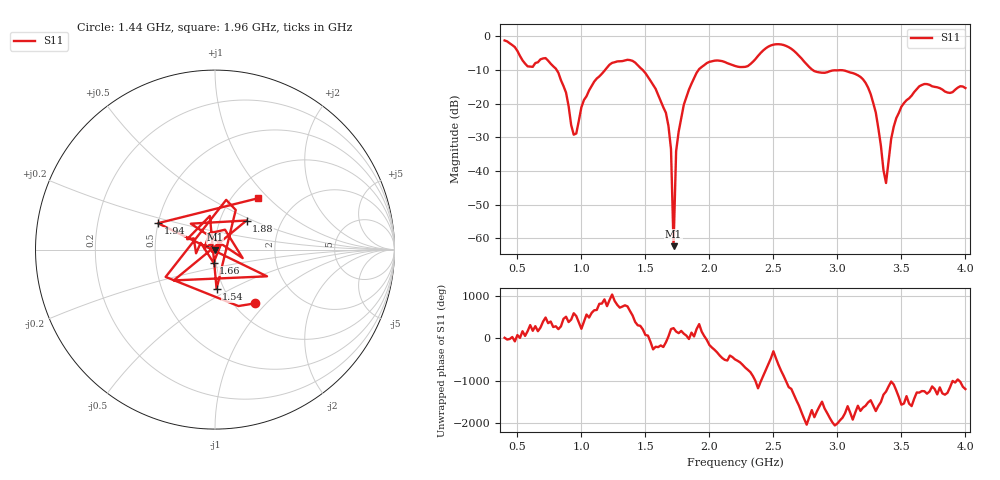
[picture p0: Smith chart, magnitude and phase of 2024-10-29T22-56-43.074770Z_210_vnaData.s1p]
!Created with skrf (http://scikit-rf.org).
# Hz S RI R 50.0
!freq ReS11 ImS11
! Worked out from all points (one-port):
!   181 points, 400 MHz to 4 GHz, reference 50 ohm
!   lowest |S11| = -62.4 dB at 1.72 GHz (marker M1), VSWR 1.00, Z = 50 - j0.0652 ohm
!   |S11| at or under -10 dB: 806.4 MHz to 1.185 GHz (379 MHz wide, 38.1 % of centre); 1.478 GHz to 1.915 GHz (436.8 MHz wide, 25.7 % of centre); 2.806 GHz to end of sweep
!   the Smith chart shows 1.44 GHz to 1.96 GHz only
!   S11 on the Smith chart (normalised r, x): 1.44 GHz: 1.24, -0.86; 1.54 GHz: 0.92, -0.42; 1.66 GHz: 0.97, -0.14; 1.88 GHz: 1.34, +0.46; 1.94 GHz: 0.50, +0.17; 1.96 GHz: 1.30, +0.87
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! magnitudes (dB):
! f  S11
! 400 MHz  -1.2
! 580 MHz  -8.9
! 720 MHz  -6.5
! 860 MHz  -14.8
! 940 MHz  -29.2
! 1.1 GHz  -13.5
! 1.3 GHz  -7.4
! 1.44 GHz  -8.6
! 1.54 GHz  -13.2
! 1.66 GHz  -22.7
! 1.7 GHz  -33.5
! 1.72 GHz  -62.4
! 1.74 GHz  -34.1
! 1.76 GHz  -28.3
! 1.88 GHz  -12.4
! 1.94 GHz  -9.1
! 1.96 GHz  -8.6
! 2.2 GHz  -8.8
! 2.5 GHz  -2.5
! 2.66 GHz  -4.3
! 2.82 GHz  -10.4
! 3.1 GHz  -10.8
! 3.26 GHz  -17.2
! 3.38 GHz  -43.6
! 3.44 GHz  -26.9
! 3.56 GHz  -18.4
! 3.68 GHz  -14.2
! 4 GHz  -15.4
